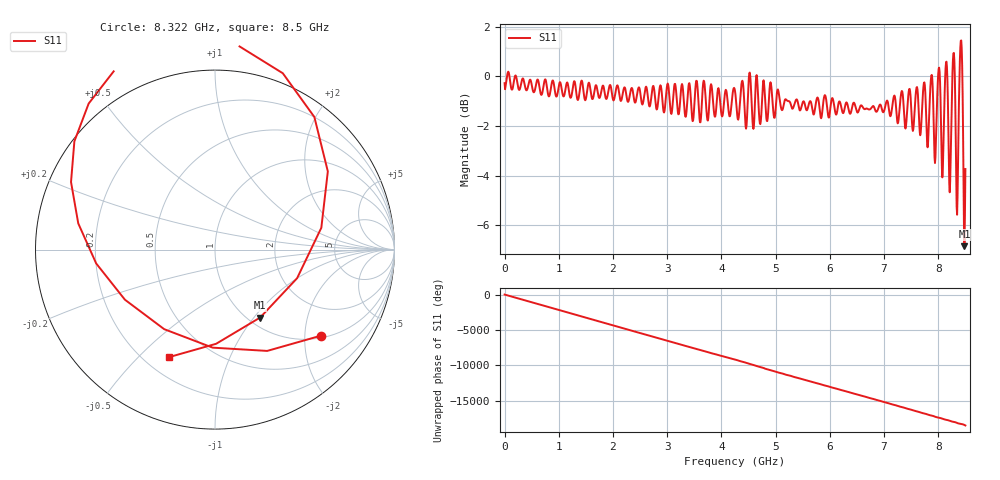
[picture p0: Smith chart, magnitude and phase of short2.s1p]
# Hz S RI R 50
! CMT, S5085, 16077402, 21.3.2/1
! Date: 11/17/2021 5:17:33 PM
! Data: Format (Calibration Info)
! Freq	S22:Re/Im(--)
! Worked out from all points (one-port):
!   1001 points, 1 MHz to 8.5 GHz, reference 50 ohm
!   lowest |S11| = -6.8 dB at 8.483 GHz (marker M1), VSWR 2.67, Z = 56.4 - j53.8 ohm
!   |S11| at or under -10 dB: nowhere
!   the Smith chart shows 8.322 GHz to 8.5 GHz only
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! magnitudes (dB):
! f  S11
! 1 MHz  -0.3
! 1.063 GHz  -0.6
! 2.126 GHz  -0.9
! 3.188 GHz  -1.3
! 4.25 GHz  -0.6
! 4.446 GHz  -2.0
! 4.522 GHz  0.2
! 4.582 GHz  -2.0
! 4.65 GHz  0.1
! 5.313 GHz  -1.3
! 6.375 GHz  -1.5
! 7.438 GHz  -1.0
! 7.54 GHz  -2.1
! 7.599 GHz  -0.4
! 7.667 GHz  -2.4
! 7.735 GHz  -0.3
! 7.803 GHz  -2.9
! 7.871 GHz  0.0
! 7.939 GHz  -3.5
! 8.007 GHz  0.3
! 8.075 GHz  -4.1
! 8.143 GHz  0.6
! 8.211 GHz  -4.7
! 8.279 GHz  0.9
! 8.347 GHz  -5.6
! 8.415 GHz  1.4
! 8.483 GHz  -6.8
! 8.5 GHz  -3.7
